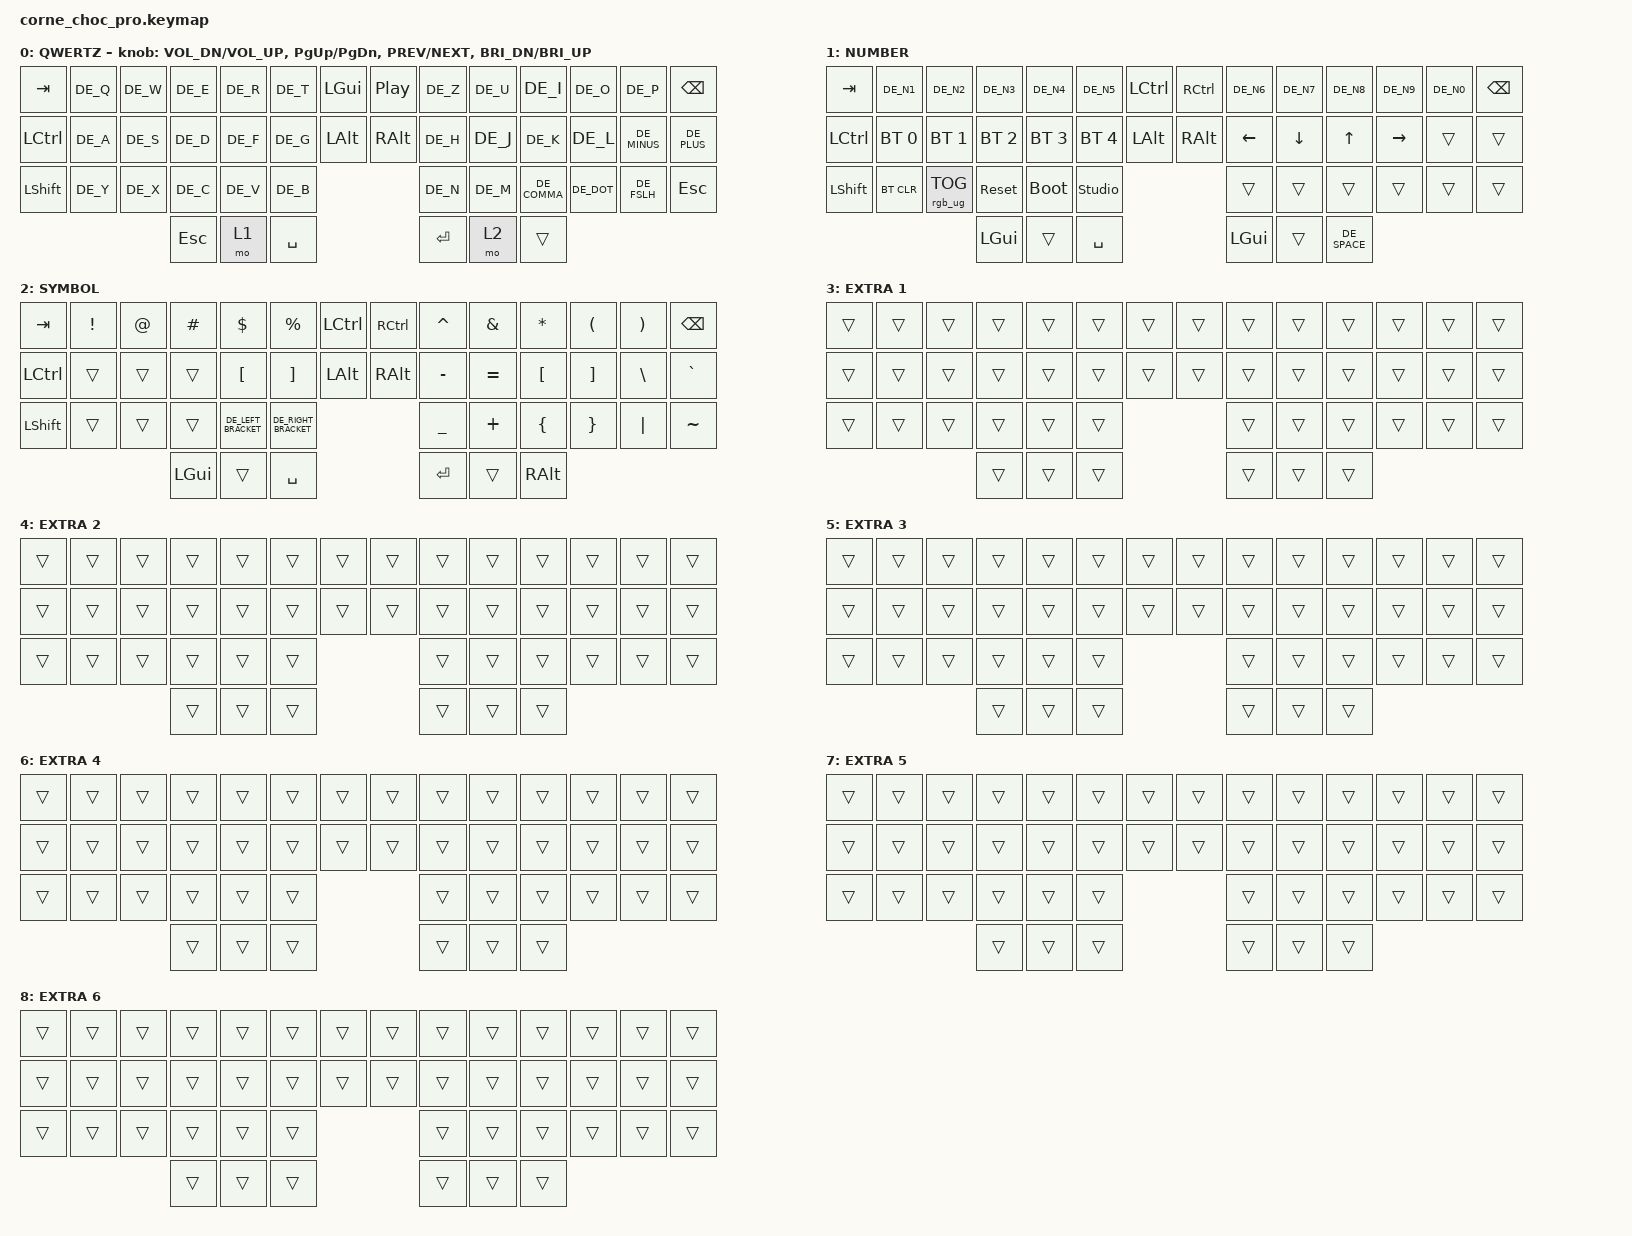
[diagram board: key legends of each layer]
/*
 * Copyright (c) 2020 The ZMK Contributors
 *
 * SPDX-License-Identifier: MIT
 */

#include "keys_de.h"
#include <behaviors.dtsi>
#include <dt-bindings/zmk/bt.h>
#include <dt-bindings/zmk/keys.h>
#include <dt-bindings/zmk/rgb.h>

/ {
    chosen { zmk,physical-layout = &default_layout; };
};

/ {
    keymap {
        compatible = "zmk,keymap";

        default_layer {
            display-name = "QWERTZ";

            // --------------------------------------------------------------------------------
            // |  TAB |  Q  |  W  |  E  |  R  |  T  |  MUTE |  PP   |  Z  |  U   |  I  |  O  |  P  | BSPC |
            // | CTRL |  A  |  S  |  D  |  F  |  G  |  LALT |  RALT |  H  |  J   |  K  |  L  |  ;  |  '   |
            // | SHFT |  Y  |  X  |  C  |  V  |  B  |               |  N  |  M   |  ,  |  .  |  /  | ESC  |
            //                    | GUI | LWR | SPC |               | ENT | RSE  | ALT |

            bindings = <
&kp TAB    &kp DE_Q  &kp DE_W  &kp DE_E  &kp DE_R  &kp DE_T   &kp LEFT_GUI  &kp C_PP  &kp DE_Z  &kp DE_U  &kp DE_I      &kp DE_O    &kp DE_P      &kp BSPC
&kp LCTRL  &kp DE_A  &kp DE_S  &kp DE_D  &kp DE_F  &kp DE_G   &kp LALT      &kp RALT  &kp DE_H  &kp DE_J  &kp DE_K      &kp DE_L    &kp DE_MINUS  &kp DE_PLUS
&kp LSHFT  &kp DE_Y  &kp DE_X  &kp DE_C  &kp DE_V  &kp DE_B                           &kp DE_N  &kp DE_M  &kp DE_COMMA  &kp DE_DOT  &kp DE_FSLH   &kp ESC
                               &kp ESC   &mo 1     &kp SPACE                          &kp RET   &mo 2     &trans
            >;

            sensor-bindings = <&inc_dec_kp C_VOL_DN C_VOL_UP &inc_dec_kp PG_UP PG_DN &inc_dec_kp C_PREV C_NEXT &inc_dec_kp C_BRI_DN C_BRI_UP>;
        };

        lower_layer {
            display-name = "NUMBER";

            // -----------------------------------------------------------------------------------------
            // |  TAB |  1  |  2  |  3  |  4  |  5    |  LCTRL | RCTRL |  6  |  7  |  8  |  9  |  0  | BSPC |
            // | CTRL | BT1 | BT2 | BT3 | BT4 | BT5   |  LALT  | RALT  | LFT | DWN |  UP | RGT |     |      |
            // | SHFT | BTCR| RGB | RST | BOOT| Unlock|        |       |     |     |     |     |     |      |
            //                    | GUI |     | SPC   |        | ENT   |     | ALT |

            bindings = <
&kp TAB    &kp DE_N1     &kp DE_N2        &kp DE_N3     &kp DE_N4     &kp DE_N5       &kp LCTRL  &kp RCTRL  &kp DE_N6  &kp DE_N7  &kp DE_N8     &kp DE_N9  &kp DE_N0  &kp BSPC
&kp LCTRL  &bt BT_SEL 0  &bt BT_SEL 1     &bt BT_SEL 2  &bt BT_SEL 3  &bt BT_SEL 4    &kp LALT   &kp RALT   &kp LEFT   &kp DOWN   &kp UP        &kp RIGHT  &trans     &trans
&kp LSHFT  &bt BT_CLR    &rgb_ug RGB_TOG  &sys_reset    &bootloader   &studio_unlock                        &trans     &trans     &trans        &trans     &trans     &trans
                                          &kp LGUI      &trans        &kp SPACE                             &kp LGUI   &trans     &kp DE_SPACE
            >;
        };

        raise_layer {
            display-name = "SYMBOL";

            // -----------------------------------------------------------------------------------------
            // |  TAB |  !  |  @  |  #  |  $  |  %  | LCTRL | RCTRL |  ^  |  &  |  *  |  (  |  )  | BSPC |
            // | CTRL |     |     |     |     |     |  LALT | RALT  |  -  |  =  |  [  |  ]  |  \  |  `   |
            // | SHFT |     |     |     |     |     |               |  _  |  +  |  {  |  }  | "|" |  ~   |
            //                    | GUI |     | SPC |               | ENT |     | ALT |

            bindings = <
&kp TAB    &kp EXCL  &kp AT  &kp HASH  &kp DLLR             &kp PRCNT             &kp LCTRL  &kp RCTRL  &kp CARET  &kp AMPS   &kp ASTRK  &kp LPAR  &kp RPAR  &kp BSPC
&kp LCTRL  &trans    &trans  &trans    &kp LEFT_BRACKET     &kp RIGHT_BRACKET     &kp LALT   &kp RALT   &kp MINUS  &kp EQUAL  &kp LBKT   &kp RBKT  &kp BSLH  &kp GRAVE
&kp LSHFT  &trans    &trans  &trans    &kp DE_LEFT_BRACKET  &kp DE_RIGHT_BRACKET                        &kp UNDER  &kp PLUS   &kp LBRC   &kp RBRC  &kp PIPE  &kp TILDE
                             &kp LGUI  &trans               &kp SPACE                                   &kp RET    &trans     &kp RALT
            >;
        };

        extra_layer_1 {
            display-name = "EXTRA 1";
            bindings = <
&trans  &trans  &trans  &trans  &trans  &trans  &trans  &trans  &trans  &trans  &trans  &trans  &trans  &trans
&trans  &trans  &trans  &trans  &trans  &trans  &trans  &trans  &trans  &trans  &trans  &trans  &trans  &trans
&trans  &trans  &trans  &trans  &trans  &trans                  &trans  &trans  &trans  &trans  &trans  &trans
                        &trans  &trans  &trans                  &trans  &trans  &trans
            >;
        };

        extra_layer_2 {
            display-name = "EXTRA 2";
            bindings = <
&trans  &trans  &trans  &trans  &trans  &trans  &trans  &trans  &trans  &trans  &trans  &trans  &trans  &trans
&trans  &trans  &trans  &trans  &trans  &trans  &trans  &trans  &trans  &trans  &trans  &trans  &trans  &trans
&trans  &trans  &trans  &trans  &trans  &trans                  &trans  &trans  &trans  &trans  &trans  &trans
                        &trans  &trans  &trans                  &trans  &trans  &trans
            >;
        };

        extra_layer_3 {
            display-name = "EXTRA 3";
            bindings = <
&trans  &trans  &trans  &trans  &trans  &trans  &trans  &trans  &trans  &trans  &trans  &trans  &trans  &trans
&trans  &trans  &trans  &trans  &trans  &trans  &trans  &trans  &trans  &trans  &trans  &trans  &trans  &trans
&trans  &trans  &trans  &trans  &trans  &trans                  &trans  &trans  &trans  &trans  &trans  &trans
                        &trans  &trans  &trans                  &trans  &trans  &trans
            >;
        };

        extra_layer_4 {
            display-name = "EXTRA 4";
            bindings = <
&trans  &trans  &trans  &trans  &trans  &trans  &trans  &trans  &trans  &trans  &trans  &trans  &trans  &trans
&trans  &trans  &trans  &trans  &trans  &trans  &trans  &trans  &trans  &trans  &trans  &trans  &trans  &trans
&trans  &trans  &trans  &trans  &trans  &trans                  &trans  &trans  &trans  &trans  &trans  &trans
                        &trans  &trans  &trans                  &trans  &trans  &trans
            >;
        };

        extra_layer_5 {
            display-name = "EXTRA 5";
            bindings = <
&trans  &trans  &trans  &trans  &trans  &trans  &trans  &trans  &trans  &trans  &trans  &trans  &trans  &trans
&trans  &trans  &trans  &trans  &trans  &trans  &trans  &trans  &trans  &trans  &trans  &trans  &trans  &trans
&trans  &trans  &trans  &trans  &trans  &trans                  &trans  &trans  &trans  &trans  &trans  &trans
                        &trans  &trans  &trans                  &trans  &trans  &trans
            >;
        };

        extra_layer_6 {
            display-name = "EXTRA 6";
            bindings = <
&trans  &trans  &trans  &trans  &trans  &trans  &trans  &trans  &trans  &trans  &trans  &trans  &trans  &trans
&trans  &trans  &trans  &trans  &trans  &trans  &trans  &trans  &trans  &trans  &trans  &trans  &trans  &trans
&trans  &trans  &trans  &trans  &trans  &trans                  &trans  &trans  &trans  &trans  &trans  &trans
                        &trans  &trans  &trans                  &trans  &trans  &trans
            >;
        };
    };
};
